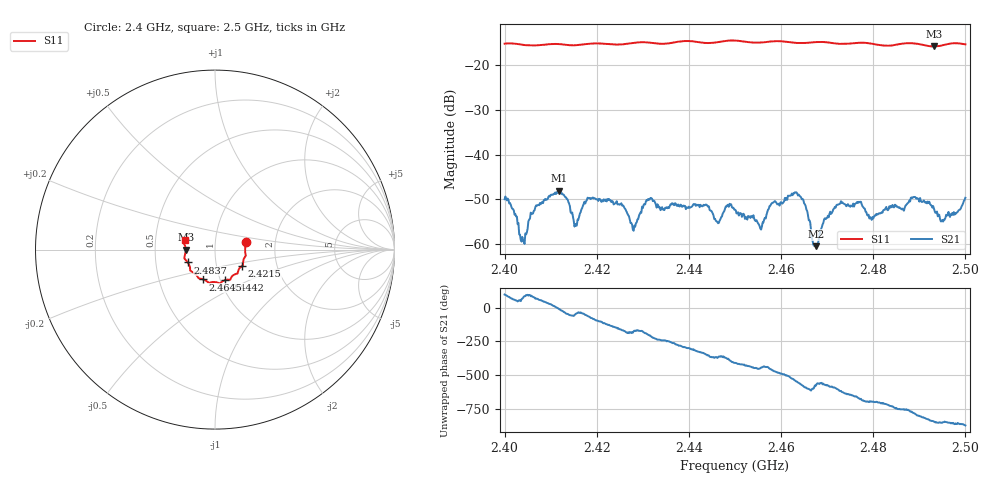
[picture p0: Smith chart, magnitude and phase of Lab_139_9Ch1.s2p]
# Hz S RI R 50
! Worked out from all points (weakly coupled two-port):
!   601 points, 2.4 GHz to 2.5 GHz, reference 50 ohm
!   highest |S21| = -48.08 dB at 2.4118 GHz (marker M1); lowest = -60.6 dB at 2.4677 GHz (marker M2)
!   lowest |S11| = -15.7 dB at 2.4932 GHz (marker M3), VSWR 1.39, Z = 35.9 - j0.0542 ohm
!   |S11| at or under -10 dB: start of sweep to end of sweep
!   S12 and S22 are empty: the file has one direction only
!   S11 on the Smith chart (normalised r, x): 2.4 GHz: 1.41, +0.12; 2.4215 GHz: 1.33, -0.25; 2.4442 GHz: 1.05, -0.37; 2.4645 GHz: 0.83, -0.29; 2.4837 GHz: 0.73, -0.11; 2.5 GHz: 0.71, +0.07
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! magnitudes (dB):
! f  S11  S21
! 2.4 GHz  -15.1  -50.0
! 2.4038 GHz  -15.3  -58.5
! 2.4068 GHz  -15.5  -51.4
! 2.4118 GHz  -15.2  -48.1
! 2.4153 GHz  -15.4  -55.6
! 2.4167 GHz  -15.3  -52.3
! 2.4215 GHz  -15.1  -50.1
! 2.4278 GHz  -14.9  -56.9
! 2.4312 GHz  -14.8  -50.0
! 2.4333 GHz  -15.1  -51.4
! 2.4442 GHz  -15.0  -51.7
! 2.45 GHz  -14.4  -52.4
! 2.4557 GHz  -14.8  -56.8
! 2.4583 GHz  -14.5  -50.8
! 2.4645 GHz  -15.0  -50.0
! 2.4667 GHz  -14.8  -58.8
! 2.4677 GHz  -14.7  -60.6
! 2.4725 GHz  -15.1  -51.2
! 2.4833 GHz  -15.6  -52.3
! 2.4837 GHz  -15.5  -51.9
! 2.4932 GHz  -15.7  -52.1
! 2.5 GHz  -15.3  -49.7
